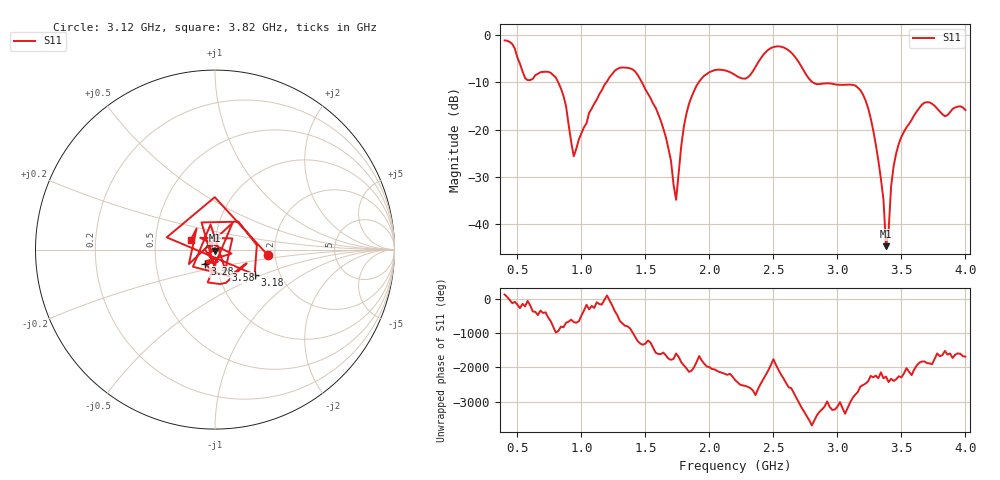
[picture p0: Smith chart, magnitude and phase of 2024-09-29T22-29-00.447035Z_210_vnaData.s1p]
!Created with skrf (http://scikit-rf.org).
# Hz S RI R 50.0
!freq ReS11 ImS11
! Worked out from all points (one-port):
!   181 points, 400 MHz to 4 GHz, reference 50 ohm
!   lowest |S11| = -44.6 dB at 3.38 GHz (marker M1), VSWR 1.01, Z = 49.8 - j0.564 ohm
!   |S11| at or under -10 dB: 818.7 MHz to 1.195 GHz (376.4 MHz wide, 37.4 % of centre); 1.472 GHz to 1.917 GHz (444.7 MHz wide, 26.2 % of centre); 2.808 GHz to end of sweep
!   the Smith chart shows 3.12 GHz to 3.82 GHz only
!   S11 on the Smith chart (normalised r, x): 3.12 GHz: 1.83, -0.13; 3.18 GHz: 1.49, -0.44; 3.28 GHz: 0.88, -0.14; 3.58 GHz: 1.09, -0.25; 3.82 GHz: 0.76, +0.08
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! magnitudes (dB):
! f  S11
! 400 MHz  -1.2
! 560 MHz  -9.1
! 760 MHz  -8.0
! 860 MHz  -12.9
! 940 MHz  -25.6
! 1.3 GHz  -6.9
! 1.58 GHz  -15.4
! 1.68 GHz  -24.0
! 1.74 GHz  -34.8
! 1.76 GHz  -29.1
! 1.82 GHz  -16.7
! 1.9 GHz  -10.7
! 2.2 GHz  -8.4
! 2.5 GHz  -2.6
! 2.66 GHz  -4.3
! 2.82 GHz  -10.2
! 3.1 GHz  -10.5
! 3.12 GHz  -10.5
! 3.18 GHz  -11.7
! 3.28 GHz  -20.1
! 3.36 GHz  -34.8
! 3.38 GHz  -44.6
! 3.44 GHz  -27.6
! 3.56 GHz  -18.8
! 3.58 GHz  -17.9
! 3.7 GHz  -14.2
! 3.82 GHz  -16.7
! 4 GHz  -15.8
